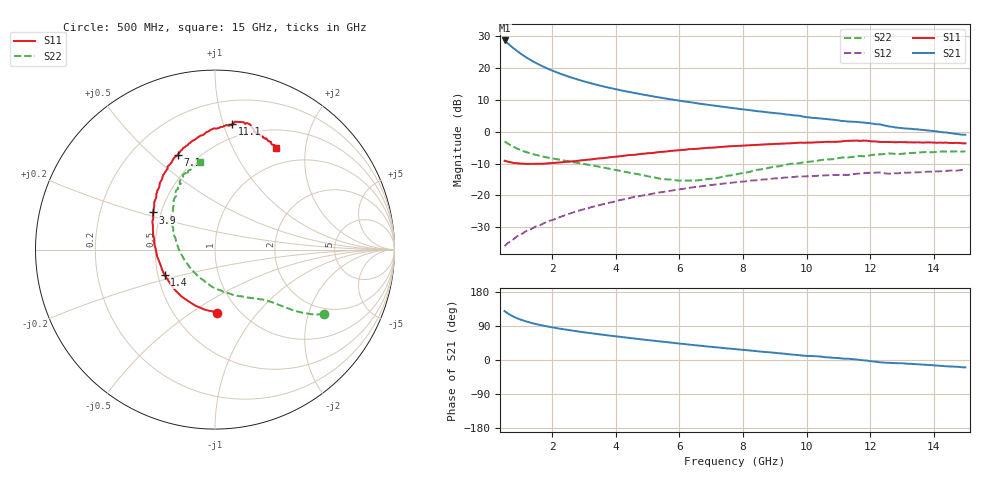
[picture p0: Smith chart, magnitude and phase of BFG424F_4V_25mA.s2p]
! Filename BFG424F_4V_25mA.prm
! Simulation_Values
! Created	by	janssen	on		nov	2006
!	Column ranking S11, S21,S12,S22 both magnitude and phase.
!	VCE	=	4	V,	IC	=	25	mA
!	Common	Emitter	S-Parameters
#	GHZ	S	MA	R	50
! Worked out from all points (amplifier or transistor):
!   146 points, 500 MHz to 15 GHz, reference 50 ohm
!   highest |S21| = 28.7 dB at 500 MHz (marker M1)
!   |S21| within 3 dB of that: start of sweep to 850.6 MHz
!   unconditionally stable (mu >= 1): 1.527 GHz to end of sweep
!   at 2.9 GHz: K = 1.14, MAG = 18.1 dB, |S12| = -24.6 dB
!   at 7.8 GHz: K = 1.12, MAG = 9.4 dB, |S12| = -15.8 dB
!   at 15 GHz: K = 1.36, MAG = 2.0 dB, |S12| = -12.0 dB
!   S11 on the Smith chart (normalised r, x): 500 MHz: 0.80, -0.64; 1.4 GHz: 0.54, -0.17; 3.9 GHz: 0.45, +0.22; 7.1 GHz: 0.39, +0.61; 11.1 GHz: 0.38, +1.07; 15 GHz: 0.75, +1.50
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0.5  0.351 -87.8  27.18 129.0  0.016 66.3  0.705 -30.8
0.6  0.34 -99.3  24.47 123.0  0.018 64.4  0.654 -33.5
0.7  0.331 -109.3  22.15 117.9  0.019 65.0  0.611 -35.4
0.8  0.323 -118.1  20.12 113.7  0.021 64.5  0.575 -36.9
0.9  0.321 -125.8  18.42 110.0  0.023 64.7  0.544 -38.1
1  0.317 -132.2  16.94 106.7  0.024 65.1  0.518 -39.0
1.1  0.316 -138.2  15.65 103.8  0.026 65.5  0.495 -39.9
1.2  0.313 -143.6  14.52 101.2  0.028 66.2  0.476 -40.6
1.4  0.314 -153.0  12.69 96.7  0.031 67.1  0.445 -42.0
1.7  0.315 -164.1  10.65 90.9  0.036 68.4  0.409 -44.2
2.1  0.326 -176.2  8.733 84.6  0.043 69.5  0.375 -47.7
2.5  0.34 174.2  7.385 79.2  0.051 70.3  0.345 -51.7
3  0.359 164.1  6.188 73.1  0.061 70.0  0.312 -57.8
3.9  0.402 149.1  4.779 63.4  0.079 68.5  0.256 -72.3
4.5  0.432 140.8  4.14 57.4  0.093 66.9  0.225 -84.6
5.4  0.483 129.4  3.45 48.8  0.112 63.2  0.183 -110.0
7.1  0.566 111.6  2.573 33.9  0.148 55.9  0.185 -169.0
7.8  0.599 105.6  2.321 28.4  0.162 52.5  0.215 171.5
10.2  0.679 87.9  1.651 10.3  0.202 39.8  0.343 131.7
11.1  0.706 82.2  1.48 4.1  0.211 35.8  0.393 123.5
12.6  0.693 71.0  1.213 -7.5  0.219 28.7  0.457 111.1
15  0.66 59.0  0.899 -19.4  0.25 19.9  0.493 99.8
